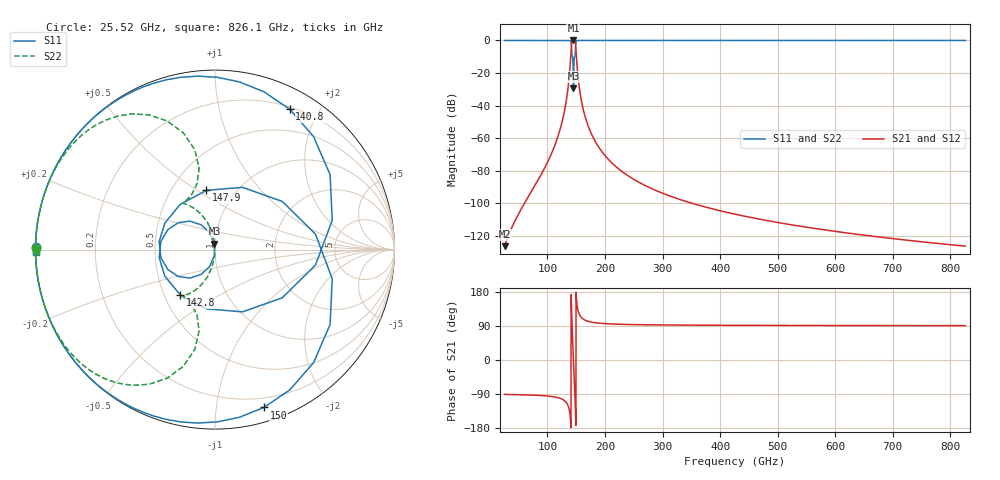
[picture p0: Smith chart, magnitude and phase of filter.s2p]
! rf-tools.com
! Date: Sat Jul 09 2022 15:43:30 GMT+0200 (Mitteleuropäische Sommerzeit)
# Hz S DB R 50.00
!Frequency  S11 dB  S11 Deg  S21 dB  S21 Deg  S12 dB  S12 Deg  S22 dB  S22 Deg
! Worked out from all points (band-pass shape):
!   2000 points, 25.52 GHz to 826.1 GHz, reference 50 ohm
!   highest |S21| = 0.00 dB at 145.1 GHz (marker M1); lowest = -126.5 dB at 25.52 GHz (marker M2)
!   |S21| within 3 dB of the highest: 141.5 GHz to 149 GHz (7.487 GHz wide, 5.15 % of centre)
!   lowest |S11| = -29.5 dB at 145.1 GHz (marker M3), VSWR 1.07, Z = 49.5 + j3.32 ohm
!   |S11| at or under -10 dB: 143.1 GHz to 147.4 GHz (4.294 GHz wide, 2.96 % of centre)
!   |S22| runs from -29.5 to 0.0 dB; largest |S21 - S12| = 0
!   S11 on the Smith chart (normalised r, x): 25.52 GHz: -0.00, +0.01; 140.8 GHz: 0.23, +1.64; 142.8 GHz: 0.60, -0.34; 147.9 GHz: 0.74, +0.55; 150 GHz: 0.12, -1.35; 826.1 GHz: -0.00, -0.01
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2.552271e10  -0.00 179.1  -126.47 -90.7  -126.47 -90.7  -0.00 179.5
9.407917e10  -0.00 174.4  -79.09 -94.3  -79.09 -94.3  -0.00 177.0
1.131275e11  -0.00 170.0  -64.11 -97.7  -64.11 -97.7  -0.00 174.6
1.26449e11  -0.00 161.6  -48.43 -104.2  -48.43 -104.2  -0.00 170.1
1.357962e11  -0.01 140.0  -28.96 -120.6  -28.96 -120.6  -0.01 158.8
1.386605e11  -0.06 117.1  -18.51 -137.8  -18.51 -137.8  -0.06 147.3
1.408483e11  -1.05 61.9  -6.67 -178.3  -6.67 -178.3  -1.05 121.4
1.428219e11  -9.95 -127.5  -0.46 86.2  -0.46 86.2  -9.95 119.9
1.450754e11  -29.47 95.9  -0.00 4.5  -0.00 4.5  -29.47 93.2
1.463426e11  -11.91 -143.8  -0.29 -40.0  -0.29 -40.0  -11.91 -116.2
1.478779e11  -9.54 98.2  -0.51 -97.3  -0.51 -97.3  -9.54 -112.8
1.499501e11  -0.72 -72.7  -8.17 170.6  -8.17 170.6  -0.72 -126.1
1.52316e11  -0.05 -120.1  -19.56 135.6  -19.56 135.6  -0.05 -148.7
1.547192e11  -0.01 -137.5  -27.50 122.5  -27.50 122.5  -0.01 -157.5
1.590857e11  -0.00 -151.5  -37.37 111.8  -37.37 111.8  -0.00 -164.8
1.796845e11  -0.00 -168.2  -59.89 99.1  -59.89 99.1  -0.00 -173.7
2.1569e11  -0.00 -173.8  -76.55 94.8  -76.55 94.8  -0.00 -176.7
2.924346e11  -0.00 -176.7  -92.85 92.6  -92.85 92.6  -0.00 -178.2
4.265358e11  -0.00 -178.1  -106.85 91.5  -106.85 91.5  -0.00 -179.0
5.595016e11  -0.00 -178.6  -115.32 91.1  -115.32 91.1  -0.00 -179.2
6.929761e11  -0.00 -178.9  -121.54 90.9  -121.54 90.9  -0.00 -179.4
8.260682e11  -0.00 -179.1  -126.47 90.7  -126.47 90.7  -0.00 -179.5
